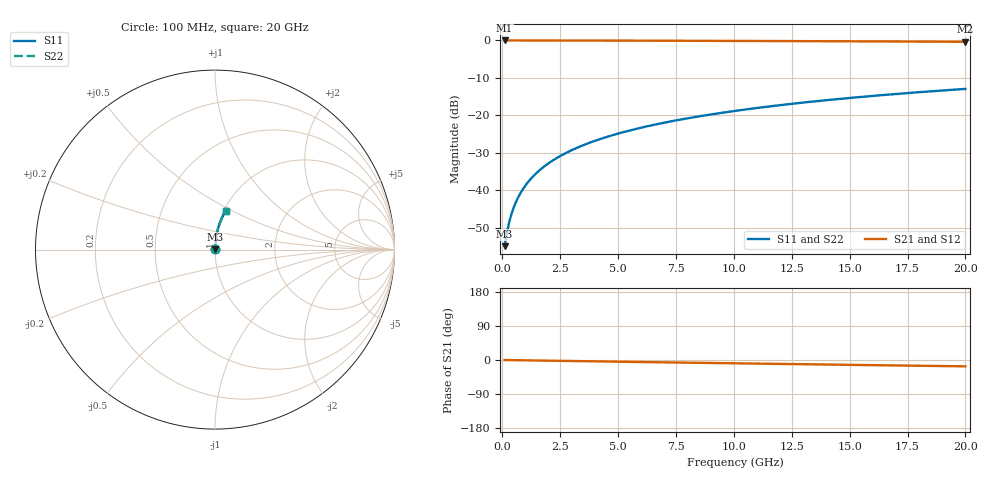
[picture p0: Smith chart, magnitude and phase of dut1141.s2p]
! Touchstone file exported from HFSS 2024.1.0
!  File:  C:/UserFiles/LocalFiles/RDL_TSV_Batchsim/temp_RDL_bottom_1141_1780055669.aedt
!  Generated:  07:56:49 PM May 29, 2026
!  Design:  RDL_bottom
!  Project:  temp_RDL_bottom_1141_1780055669
!  Setup:  Setup1
!  Solution:  Sweep
! Variables:
!  dtsv = 10.80580581um
!  hbump = 3um
!  htsv = 57.94um
!  ldown = 177.3um
!  lrdl = 100um
!  p = 40
!  p1 = 48.56um
!  rhole = 1um
!  t = 450um
!  tdown = 4.84um
!  trdl = 3.915915916um
!  wdown = 10.4um
!  wrdl = 20um
# GHz S MA R 50.000000
! Terminal data exported
! Port[1] = RDL1_T1
! Port[2] = RDL1_T2
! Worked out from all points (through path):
!   200 points, 100 MHz to 20 GHz, reference 50 ohm
!   highest |S21| = -0.01 dB at 100 MHz (marker M1); lowest = -0.4 dB at 20 GHz (marker M2)
!   group delay of S21, straight-line fit = 2.32 ps
!   lowest |S11| = -55.0 dB at 100 MHz (marker M3), VSWR 1.00, Z = 50.1 + j0.117 ohm
!   |S11| at or under -10 dB: start of sweep to end of sweep
!   |S22| runs from -55.0 to -13.0 dB; largest |S21 - S12| = 3.1e-15
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0.1  0.00178 40.9  0.9987 -0.1  0.9987 -0.1  0.00178 40.9
! Gamma 0 0 0 0
! Port Impedance 50 0 50 0
0.2  0.002698 59.6  0.9986 -0.2  0.9986 -0.2  0.002698 59.6
0.3  0.003745 68.2  0.9986 -0.3  0.9986 -0.3  0.003745 68.2
0.4  0.004833 72.9  0.9986 -0.4  0.9986 -0.4  0.004833 72.9
0.5  0.005936 75.8  0.9985 -0.5  0.9985 -0.5  0.005936 75.8
0.6  0.007047 77.9  0.9985 -0.6  0.9985 -0.6  0.007047 77.9
0.8  0.009283 80.4  0.9984 -0.7  0.9984 -0.7  0.009283 80.4
1.1  0.01266 82.6  0.9983 -1.0  0.9983 -1.0  0.01266 82.6
1.5  0.01717 84.0  0.9981 -1.4  0.9981 -1.4  0.01717 84.0
1.8  0.02057 84.6  0.9979 -1.6  0.9979 -1.6  0.02057 84.6
2.1  0.02397 84.9  0.9977 -1.9  0.9977 -1.9  0.02397 84.9
2.7  0.03077 85.3  0.9971 -2.5  0.9971 -2.5  0.03077 85.3
3.5  0.03985 85.3  0.9962 -3.2  0.9962 -3.2  0.03985 85.3
4.2  0.04779 85.2  0.9953 -3.8  0.9953 -3.8  0.04779 85.2
5  0.05687 84.9  0.9941 -4.5  0.9941 -4.5  0.05687 84.9
5.9  0.0671 84.5  0.9927 -5.3  0.9927 -5.3  0.0671 84.5
6.8  0.07733 84.0  0.9911 -6.0  0.9911 -6.0  0.07733 84.0
8.3  0.09441 83.1  0.9882 -7.3  0.9882 -7.3  0.09441 83.1
10.1  0.1149 81.9  0.9844 -8.8  0.9844 -8.8  0.1149 81.9
13.4  0.1523 79.5  0.9768 -11.5  0.9768 -11.5  0.1523 79.5
16.7  0.189 77.0  0.9683 -14.2  0.9683 -14.2  0.189 77.0
20  0.2249 74.4  0.959 -16.7  0.959 -16.7  0.2249 74.4
